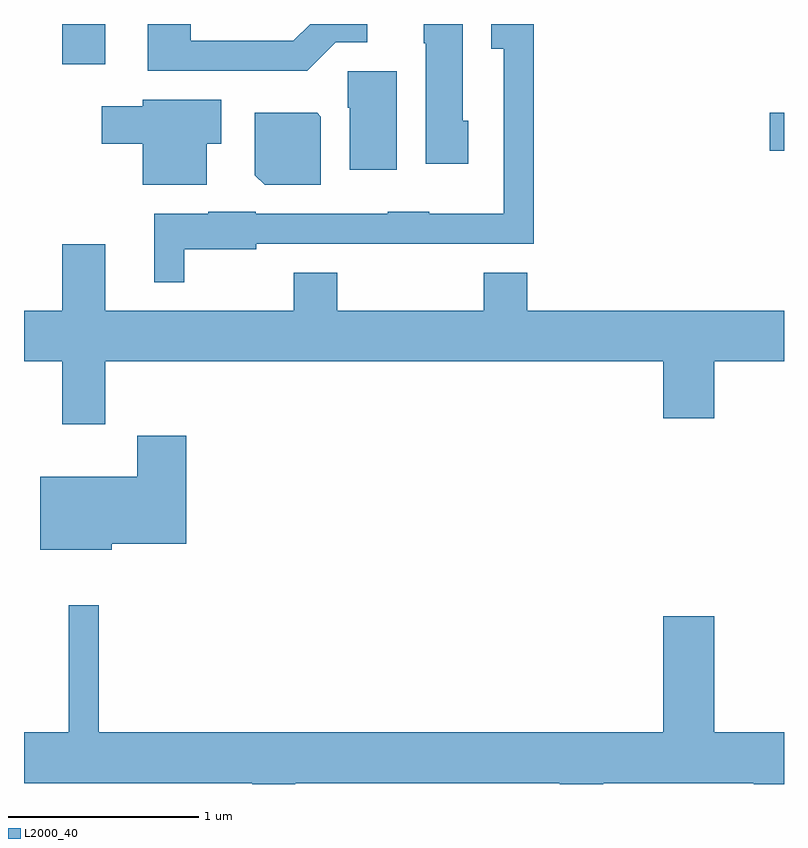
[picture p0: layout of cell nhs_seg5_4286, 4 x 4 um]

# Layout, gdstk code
import gdstk
lib = gdstk.Library(unit=1e-6, precision=1e-09)
def R(c, l, rs):  # rectangles x0, y0, x1, y1
    for r in rs: c.add(gdstk.rectangle(r[:2], r[2:], *l))
def P(c, l, *ps):  # polygons
    for p in ps: c.add(gdstk.Polygon(p, *l))
L2000_40 = (2000, 40)

nhs_seg5_4286 = lib.new_cell('nhs_seg5_4286')
R(nhs_seg5_4286, L2000_40, [(315.536,1513.406,315.611,1513.604), (311.811,1513.861,312.039,1514.072)])
P(nhs_seg5_4286, L2000_40, [(312.454,1512.886),(312.834,1512.886),(312.834,1512.916),(314.294,1512.916),(314.294,1514.072),(314.071,1514.072),(314.071,1513.941),(314.136,1513.941),(314.136,1513.074),(313.745,1513.074),(313.745,1513.084),(313.525,1513.084),(313.525,1513.074),(312.83,1513.074),(312.83,1513.084),(312.58,1513.084),(312.58,1513.074),(312.296,1513.074),(312.296,1512.713),(312.454,1512.713)],
  [(313.949,1513.564),(313.919,1513.564),(313.919,1514.072),(313.716,1514.072),(313.716,1513.97),(313.726,1513.97),(313.726,1513.336),(313.949,1513.336)],
  [(313.252,1513.976),(313.418,1513.976),(313.418,1514.072),(313.117,1514.072),(313.029,1513.984),(312.489,1513.984),(312.489,1514.072),(312.261,1514.072),(312.261,1513.826),(313.102,1513.826)],
  [(313.574,1513.824),(313.316,1513.824),(313.316,1513.63),(313.326,1513.63),(313.326,1513.306),(313.574,1513.306)],
  [(312.574,1513.441),(312.649,1513.441),(312.649,1513.674),(312.236,1513.674),(312.236,1513.639),(312.021,1513.639),(312.021,1513.441),(312.236,1513.441),(312.236,1513.226),(312.574,1513.226)],
  [(313.174,1513.584),(313.154,1513.604),(312.826,1513.604),(312.826,1513.277),(312.877,1513.226),(313.174,1513.226)],
  [(312.039,1512.296),(314.976,1512.296),(314.976,1511.996),(315.244,1511.996),(315.244,1512.296),(315.611,1512.296),(315.611,1512.564),(314.259,1512.564),(314.259,1512.764),(314.031,1512.764),(314.031,1512.564),(313.259,1512.564),(313.259,1512.764),(313.031,1512.764),(313.031,1512.564),(312.039,1512.564),(312.039,1512.914),(311.811,1512.914),(311.811,1512.564),(311.611,1512.564),(311.611,1512.296),(311.811,1512.296),(311.811,1511.966),(312.039,1511.966)],
  [(312.074,1511.336),(312.464,1511.336),(312.464,1511.904),(312.206,1511.904),(312.206,1511.689),(311.696,1511.689),(311.696,1511.306),(312.074,1511.306)],
  [(313.039,1510.076),(314.431,1510.076),(314.431,1510.072),(314.659,1510.072),(314.659,1510.076),(315.451,1510.076),(315.451,1510.072),(315.611,1510.072),(315.611,1510.344),(315.244,1510.344),(315.244,1510.954),(314.976,1510.954),(314.976,1510.344),(312.004,1510.344),(312.004,1511.013),(311.846,1511.013),(311.846,1510.344),(311.611,1510.344),(311.611,1510.076),(312.811,1510.076),(312.811,1510.072),(313.039,1510.072)])

lib.write_gds('nhs_seg5_4286.gds')
